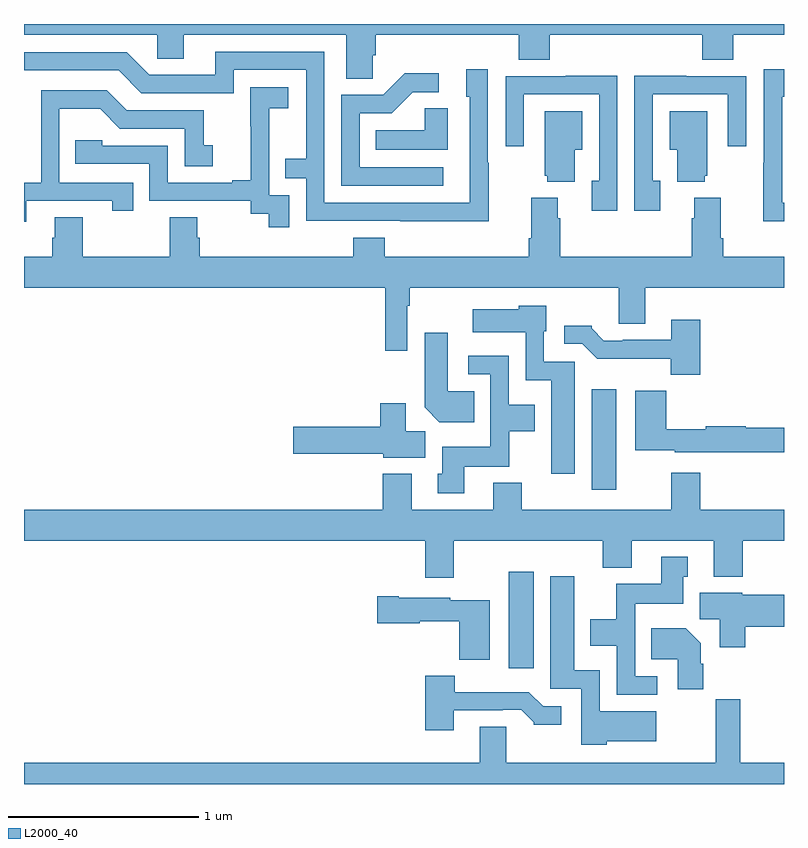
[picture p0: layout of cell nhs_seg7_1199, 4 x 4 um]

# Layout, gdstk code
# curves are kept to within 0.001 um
import gdstk
lib = gdstk.Library(unit=1e-6, precision=1e-09)
def R(c, l, rs):  # rectangles x0, y0, x1, y1
    for r in rs: c.add(gdstk.rectangle(r[:2], r[2:], *l))
def P(c, l, *ps):  # polygons
    for p in ps: c.add(gdstk.Polygon(p, *l))
L2000_40 = (2000, 40)

nhs_seg7_1199 = lib.new_cell('nhs_seg7_1199')
R(nhs_seg7_1199, L2000_40, [(197.552,1002.609,197.683,1003.117), (197.987,1003.548,198.118,1004.077)])
P(nhs_seg7_1199, L2000_40, [(196.836,1005.835),(196.85,1005.835),(196.85,1005.944),(197.603,1005.944),(197.603,1005.811),(197.768,1005.811),(197.768,1005.944),(198.569,1005.944),(198.569,1005.811),(198.734,1005.811),(198.734,1005.944),(199,1005.944),(199,1006),(195,1006),(195,1005.944),(195.702,1005.944),(195.702,1005.817),(195.841,1005.817),(195.841,1005.944),(196.697,1005.944),(196.697,1005.712),(196.836,1005.712)],
  [(197.445,1005.269),(197.442,1005.269),(197.442,1005.763),(197.327,1005.763),(197.327,1005.618),(197.346,1005.618),(197.346,1005.06),(196.581,1005.06),(196.581,1005.855),(196.007,1005.855),(196.007,1005.732),(195.66,1005.732),(195.54,1005.852),(195,1005.852),(195,1005.756),(195.498,1005.756),(195.618,1005.636),(196.104,1005.636),(196.104,1005.759),(196.485,1005.759),(196.485,1005.29),(196.375,1005.29),(196.375,1005.189),(196.485,1005.189),(196.485,1004.964),(197.445,1004.963)],
  [(199,1005.06),(198.99,1005.06),(198.99,1005.618),(199,1005.618),(199,1005.763),(198.894,1005.763),(198.894,1005.269),(198.892,1005.269),(198.892,1004.963),(199,1004.963)],
  [(197.206,1005.246),(196.767,1005.246),(196.767,1005.531),(196.936,1005.531),(197.047,1005.642),(197.182,1005.642),(197.182,1005.74),(197.003,1005.74),(196.89,1005.627),(196.671,1005.627),(196.671,1005.15),(197.206,1005.15)],
  [(198.123,1005.728),(197.851,1005.728),(197.851,1005.726),(197.535,1005.726),(197.535,1005.357),(197.631,1005.357),(197.631,1005.63),(198.027,1005.63),(198.027,1005.174),(197.987,1005.174),(197.987,1005.018),(198.123,1005.018)],
  [(198.349,1005.174),(198.309,1005.174),(198.309,1005.63),(198.705,1005.63),(198.705,1005.357),(198.801,1005.357),(198.801,1005.726),(198.485,1005.726),(198.485,1005.728),(198.213,1005.728),(198.213,1005.018),(198.349,1005.018)],
  [(196.395,1005.099),(196.29,1005.099),(196.29,1005.329),(196.292,1005.329),(196.292,1005.557),(196.39,1005.557),(196.39,1005.667),(196.192,1005.667),(196.192,1005.461),(196.193,1005.461),(196.193,1005.178),(196.097,1005.178),(196.097,1005.165),(195.756,1005.165),(195.756,1005.36),(195.411,1005.36),(195.411,1005.387),(195.271,1005.387),(195.271,1005.264),(195.66,1005.264),(195.66,1005.069),(196.194,1005.069),(196.194,1005.001),(196.287,1005.001),(196.287,1004.931),(196.395,1004.931)],
  [(195.013,1005.069),(195.464,1005.069),(195.464,1005.018),(195.575,1005.018),(195.575,1005.165),(195.186,1005.165),(195.186,1005.554),(195.4,1005.554),(195.504,1005.45),(195.846,1005.45),(195.846,1005.252),(195.994,1005.252),(195.994,1005.361),(195.945,1005.361),(195.945,1005.546),(195.541,1005.546),(195.436,1005.651),(195.09,1005.651),(195.09,1005.165),(195,1005.165),(195,1004.958),(195.013,1004.958)],
  [(197.23,1005.557),(197.109,1005.557),(197.109,1005.442),(196.852,1005.442),(196.852,1005.338),(197.23,1005.338)],
  [(197.899,1005.338),(197.938,1005.338),(197.938,1005.541),(197.741,1005.541),(197.741,1005.201),(197.753,1005.201),(197.753,1005.17),(197.899,1005.17)],
  [(198.584,1005.201),(198.595,1005.201),(198.595,1005.541),(198.398,1005.541),(198.398,1005.338),(198.437,1005.338),(198.437,1005.17),(198.584,1005.17)],
  [(197.016,1004.516),(197.029,1004.516),(197.029,1004.612),(198.131,1004.612),(198.131,1004.422),(198.271,1004.422),(198.271,1004.612),(199,1004.612),(199,1004.776),(198.68,1004.776),(198.68,1004.872),(198.667,1004.872),(198.667,1005.085),(198.527,1005.085),(198.527,1004.978),(198.515,1004.978),(198.515,1004.776),(197.822,1004.776),(197.822,1004.978),(197.809,1004.978),(197.809,1005.085),(197.669,1005.085),(197.669,1004.872),(197.657,1004.872),(197.657,1004.776),(196.898,1004.776),(196.898,1004.875),(196.733,1004.875),(196.733,1004.776),(195.926,1004.776),(195.926,1004.874),(195.913,1004.874),(195.913,1004.984),(195.766,1004.984),(195.766,1004.776),(195.309,1004.776),(195.309,1004.984),(195.161,1004.984),(195.161,1004.874),(195.149,1004.874),(195.149,1004.776),(195,1004.776),(195,1004.612),(196.9,1004.612),(196.9,1004.28),(197.016,1004.28)],
  [(197.899,1004.223),(197.736,1004.223),(197.736,1004.382),(197.749,1004.382),(197.749,1004.518),(197.604,1004.518),(197.604,1004.5),(197.361,1004.5),(197.361,1004.378),(197.64,1004.378),(197.64,1004.126),(197.774,1004.126),(197.774,1003.632),(197.899,1003.632)],
  [(198.56,1004.443),(198.407,1004.443),(198.407,1004.337),(198.151,1004.337),(198.151,1004.334),(198.052,1004.334),(197.988,1004.398),(197.988,1004.413),(197.844,1004.413),(197.844,1004.316),(197.937,1004.316),(198.016,1004.238),(198.405,1004.238),(198.405,1004.153),(198.56,1004.153)],
  [(197.369,1004.068),(197.23,1004.068),(197.23,1004.374),(197.108,1004.374),(197.108,1003.982),(197.186,1003.904),(197.369,1003.904)],
  [(197.317,1003.67),(197.553,1003.67),(197.553,1003.856),(197.689,1003.856),(197.689,1003.996),(197.55,1003.996),(197.55,1004.253),(197.337,1004.253),(197.337,1004.157),(197.454,1004.157),(197.454,1003.774),(197.201,1003.774),(197.201,1003.632),(197.177,1003.632),(197.177,1003.53),(197.317,1003.53)],
  [(198.698,1003.746),(199,1003.746),(199,1003.874),(198.798,1003.874),(198.798,1003.882),(198.588,1003.882),(198.588,1003.867),(198.38,1003.867),(198.38,1004.071),(198.218,1004.071),(198.218,1003.757),(198.426,1003.757),(198.426,1003.745),(198.698,1003.745)],
  [(197.113,1003.856),(197.008,1003.856),(197.008,1004.005),(196.874,1004.005),(196.874,1003.88),(196.416,1003.88),(196.416,1003.738),(196.89,1003.738),(196.89,1003.718),(197.113,1003.718)],
  [(197.263,1003.28),(198.047,1003.28),(198.047,1003.139),(198.199,1003.139),(198.199,1003.28),(198.629,1003.28),(198.629,1003.091),(198.782,1003.091),(198.782,1003.28),(199,1003.28),(199,1003.444),(198.56,1003.444),(198.56,1003.639),(198.407,1003.639),(198.407,1003.444),(197.619,1003.444),(197.619,1003.585),(197.471,1003.585),(197.471,1003.444),(197.041,1003.444),(197.041,1003.633),(196.889,1003.633),(196.889,1003.444),(195,1003.444),(195,1003.28),(197.111,1003.28),(197.111,1003.086),(197.263,1003.086)],
  [(198.334,1002.567),(198.216,1002.567),(198.216,1002.95),(198.469,1002.95),(198.469,1003.092),(198.493,1003.092),(198.493,1003.195),(198.353,1003.195),(198.353,1003.054),(198.118,1003.054),(198.118,1002.868),(197.981,1002.868),(197.981,1002.728),(198.12,1002.728),(198.12,1002.471),(198.334,1002.471)],
  [(198.066,1002.224),(198.328,1002.224),(198.328,1002.382),(198.03,1002.382),(198.03,1002.598),(197.896,1002.598),(197.896,1003.093),(197.771,1003.093),(197.771,1002.501),(197.934,1002.501),(197.934,1002.206),(198.066,1002.206)],
  [(198.797,1002.827),(199,1002.827),(199,1002.997),(198.78,1002.997),(198.78,1003.006),(198.557,1003.006),(198.557,1002.868),(198.662,1002.868),(198.662,1002.72),(198.797,1002.72)],
  [(197.452,1002.967),(197.244,1002.967),(197.244,1002.979),(196.972,1002.979),(196.972,1002.987),(196.86,1002.987),(196.86,1002.845),(197.082,1002.845),(197.082,1002.857),(197.29,1002.857),(197.29,1002.653),(197.452,1002.653)],
  [(198.575,1002.632),(198.562,1002.632),(198.562,1002.742),(198.484,1002.82),(198.301,1002.82),(198.301,1002.656),(198.44,1002.656),(198.44,1002.498),(198.575,1002.498)],
  [(197.263,1002.387),(197.519,1002.387),(197.519,1002.39),(197.618,1002.39),(197.682,1002.326),(197.682,1002.311),(197.827,1002.311),(197.827,1002.408),(197.733,1002.408),(197.657,1002.484),(197.266,1002.484),(197.266,1002.571),(197.111,1002.571),(197.111,1002.282),(197.263,1002.282)],
  [(199,1002.112),(198.77,1002.112),(198.77,1002.445),(198.642,1002.445),(198.642,1002.112),(197.539,1002.112),(197.539,1002.302),(197.399,1002.302),(197.399,1002.112),(195,1002.112),(195,1002),(199,1002)])

lib.write_gds('nhs_seg7_1199.gds')
